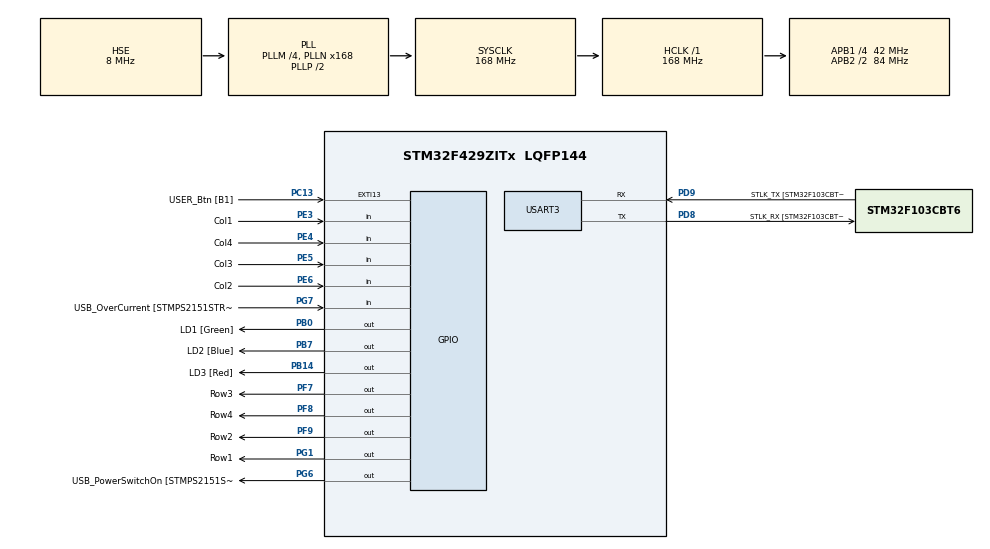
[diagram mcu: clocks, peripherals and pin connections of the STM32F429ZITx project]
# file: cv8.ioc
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Mcu.Family=STM32F4
Mcu.Name=STM32F429ZITx
Mcu.Package=LQFP144
NVIC.PriorityGroup=NVIC_PRIORITYGROUP_4
NVIC.TIM3_IRQn=true\:0\:0\:false\:false\:true\:true\:true
PA1.GPIO_Label=RMII_REF_CLK [LAN8742A-CZ-TR_REFCLK0]
PA1.Signal=ETH_REF_CLK
PA10.GPIO_Label=USB_ID
PA10.Signal=USB_OTG_FS_ID
PA11.GPIO_Label=USB_DM
PA11.Signal=USB_OTG_FS_DM
PA12.GPIO_Label=USB_DP
PA12.Signal=USB_OTG_FS_DP
PA13.GPIO_Label=TMS
PA13.Mode=Serial_Wire
PA13.Signal=SYS_JTMS-SWDIO
PA14.GPIO_Label=TCK
PA14.Mode=Serial_Wire
PA14.Signal=SYS_JTCK-SWCLK
PA2.GPIO_Label=RMII_MDIO [LAN8742A-CZ-TR_MDIO]
PA2.Signal=ETH_MDIO
PA7.GPIO_Label=RMII_CRS_DV [LAN8742A-CZ-TR_CRS_DV]
PA7.Signal=ETH_CRS_DV
PA8.GPIO_Label=USB_SOF [TP1]
PA8.Signal=USB_OTG_FS_SOF
PA9.GPIO_Label=USB_VBUS
PA9.Signal=USB_OTG_FS_VBUS
PB0.GPIO_Label=LD1 [Green]
PB0.Signal=GPIO_Output
PB13.GPIO_Label=RMII_TXD1 [LAN8742A-CZ-TR_TXD1]
PB13.Signal=ETH_TXD1
PB14.GPIO_Label=LD3 [Red]
PB14.Signal=GPIO_Output
PB7.GPIO_Label=LD2 [Blue]
PB7.Signal=GPIO_Output
PC1.GPIO_Label=RMII_MDC [LAN8742A-CZ-TR_MDC]
PC1.Signal=ETH_MDC
PC13.GPIO_Label=USER_Btn [B1]
PC13.Signal=GPXTI13
PC14/OSC32_IN.Mode=LSE-External-Oscillator
PC14/OSC32_IN.Signal=RCC_OSC32_IN
PC15/OSC32_OUT.Mode=LSE-External-Oscillator
PC15/OSC32_OUT.Signal=RCC_OSC32_OUT
PC4.GPIO_Label=RMII_RXD0 [LAN8742A-CZ-TR_RXD0]
PC4.Signal=ETH_RXD0
PC5.GPIO_Label=RMII_RXD1 [LAN8742A-CZ-TR_RXD1]
PC5.Signal=ETH_RXD1
PD8.GPIO_Label=STLK_RX [STM32F103CBT6_PA3]
PD8.Mode=Asynchronous
PD8.Signal=USART3_TX
PD9.GPIO_Label=STLK_TX [STM32F103CBT6_PA2]
PD9.Mode=Asynchronous
PD9.Signal=USART3_RX
PE3.GPIO_Label=Col1
PE3.GPIO_PuPd=GPIO_PULLUP
PE3.Signal=GPIO_Input
PE4.GPIO_Label=Col4
PE4.GPIO_PuPd=GPIO_PULLUP
PE4.Signal=GPIO_Input
PE5.GPIO_Label=Col3
PE5.GPIO_PuPd=GPIO_PULLUP
PE5.Signal=GPIO_Input
PE6.GPIO_Label=Col2
PE6.GPIO_PuPd=GPIO_PULLUP
PE6.Signal=GPIO_Input
PF7.GPIO_Label=Row3
PF7.GPIO_ModeDefaultOutputPP=GPIO_MODE_OUTPUT_OD
PF7.Signal=GPIO_Output
PF8.GPIO_Label=Row4
PF8.GPIO_ModeDefaultOutputPP=GPIO_MODE_OUTPUT_OD
PF8.Signal=GPIO_Output
PF9.GPIO_Label=Row2
PF9.GPIO_ModeDefaultOutputPP=GPIO_MODE_OUTPUT_OD
PF9.Signal=GPIO_Output
PG1.GPIO_Label=Row1
PG1.GPIO_ModeDefaultOutputPP=GPIO_MODE_OUTPUT_OD
PG1.Signal=GPIO_Output
PG11.GPIO_Label=RMII_TX_EN [LAN8742A-CZ-TR_TXEN]
PG11.Signal=ETH_TX_EN
PG13.GPIO_Label=RMII_TXD0 [LAN8742A-CZ-TR_TXD0]
PG13.Signal=ETH_TXD0
PG6.GPIO_Label=USB_PowerSwitchOn [STMPS2151STR_EN]
PG6.Signal=GPIO_Output
PG7.GPIO_Label=USB_OverCurrent [STMPS2151STR_FAULT]
PG7.Signal=GPIO_Input
PH0/OSC_IN.GPIO_Label=MCO [STM32F103CBT6_PA8]
PH0/OSC_IN.Mode=HSE-External-Clock-Source
PH0/OSC_IN.Signal=RCC_OSC_IN
PH1/OSC_OUT.Mode=HSE-External-Clock-Source
PH1/OSC_OUT.Signal=RCC_OSC_OUT
ProjectManager.HeapSize=0x200
ProjectManager.StackSize=0x400
ProjectManager.TargetToolchain=STM32CubeIDE
RCC.48MHZClocksFreq_Value=48000000
RCC.AHBFreq_Value=168000000
RCC.APB1CLKDivider=RCC_HCLK_DIV4
RCC.APB1Freq_Value=42000000
RCC.APB1TimFreq_Value=84000000
RCC.APB2CLKDivider=RCC_HCLK_DIV2
RCC.APB2Freq_Value=84000000
RCC.APB2TimCLKDivider=2
RCC.APB2TimFreq_Value=168000000
RCC.CortexFreq_Value=168000000
RCC.HCLKFreq_Value=168000000
RCC.HSE_VALUE=8000000
RCC.HSI_VALUE=16000000
RCC.PLLM=4
RCC.PLLMUL=RCC_PLL_MUL9
RCC.PLLN=168
RCC.PLLQ=7
RCC.PLLSourceVirtual=RCC_PLLSOURCE_HSE
RCC.PRESCALERUSB=RCC_USBCLKSOURCE_PLL_DIV1_5
RCC.SYSCLKFreq_VALUE=168000000
RCC.SYSCLKSource=RCC_SYSCLKSOURCE_PLLCLK
RCC.SYSCLKSourceVirtual=RCC_SYSCLKSOURCE_PLLCLK
RCC.USBFreq_Value=48000000
RCC.VCOOutputFreq_Value=336000000
TIM3.AutoReloadPreload=TIM_AUTORELOAD_PRELOAD_ENABLE
TIM3.Period=99
TIM3.Prescaler=8399
USART3.VirtualMode=VM_ASYNC
VP_TIM3_VS_ClockSourceINT.Mode=Internal
board=NUCLEO-F429ZI

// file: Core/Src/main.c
/* USER CODE BEGIN Header */
/**
 ******************************************************************************
 * @file           : main.c
 * @brief          : Main program body
 ******************************************************************************
 * @attention
 *
 * <h2><center>&copy; Copyright (c) 2021 STMicroelectronics.
 * All rights reserved.</center></h2>
 *
 * This software component is licensed by ST under BSD 3-Clause license,
 * the "License"; You may not use this file except in compliance with the
 * License. You may obtain a copy of the License at:
 *                        opensource.org/licenses/BSD-3-Clause
 *
 ******************************************************************************
 */
/* USER CODE END Header */
#include "main.h"

/* USER CODE BEGIN Includes */
#include <stdio.h>

/* USER CODE END Includes */

TIM_HandleTypeDef htim3;

UART_HandleTypeDef huart3;

/* USER CODE BEGIN PV */
 static volatile int8_t key;
/* USER CODE END PV */

void SystemClock_Config(void);
static void MX_GPIO_Init(void);
static void MX_USART3_UART_Init(void);
static void MX_TIM3_Init(void);

/* USER CODE BEGIN 0 */

int __io_putchar(int ch)
{
	ITM_SendChar(ch);
	return 0;
}
/* USER CODE END 0 */

int main(void)
{

	/* MCU Configuration--------------------------------------------------------*/

	/* Reset of all peripherals, Initializes the Flash interface and the Systick. */
	HAL_Init();

	/* Configure the system clock */
	SystemClock_Config();

	/* Initialize all configured peripherals */
	MX_GPIO_Init();
	MX_USART3_UART_Init();
	MX_TIM3_Init();
	/* USER CODE BEGIN 2 */
	HAL_TIM_Base_Start_IT(&htim3);
	/* USER CODE END 2 */

	/* Infinite loop */
	/* USER CODE BEGIN WHILE */

	static const int zamek[5] = {7,9,3,2,12};
	uint8_t index = 0;
	uint32_t last;

	while (1)
	{
		/* USER CODE END WHILE */

		/* USER CODE BEGIN 3 */
		/*  HAL_GPIO_TogglePin(LD1_GPIO_Port, LD1_Pin);
	  HAL_Delay(250);
	  printf("Toggle \n");
		 */

		if (key != -1)
		{

			if(HAL_GetTick()-last > 5000)
			{
				index = 0;
				printf("Timeout %d \n ", key);
			}
			last = HAL_GetTick();
			printf ("%d \n",key);
			HAL_Delay(500);

			if(key == zamek[index])
			{
				index++;
			}
			else
			{
				index = 0;
			}

			if(index == (sizeof(zamek)/sizeof(zamek[0])))
			{
				printf("Unlocked \n");
				HAL_GPIO_WritePin (LD1_GPIO_Port, LD1_Pin,GPIO_PIN_SET);
				HAL_Delay(1000);
				HAL_GPIO_WritePin (LD1_GPIO_Port, LD1_Pin,GPIO_PIN_RESET);
			}
			key = -1;
		}
	}
	/* USER CODE END 3 */
}

void SystemClock_Config(void)
{
	RCC_OscInitTypeDef RCC_OscInitStruct = {0};
	RCC_ClkInitTypeDef RCC_ClkInitStruct = {0};

	/** Configure the main internal regulator output voltage
	 */
	__HAL_RCC_PWR_CLK_ENABLE();
	__HAL_PWR_VOLTAGESCALING_CONFIG(PWR_REGULATOR_VOLTAGE_SCALE1);
	/** Initializes the RCC Oscillators according to the specified parameters
	 * in the RCC_OscInitTypeDef structure.
	 */
	RCC_OscInitStruct.OscillatorType = RCC_OSCILLATORTYPE_HSE;
	RCC_OscInitStruct.HSEState = RCC_HSE_BYPASS;
	RCC_OscInitStruct.PLL.PLLState = RCC_PLL_ON;
	RCC_OscInitStruct.PLL.PLLSource = RCC_PLLSOURCE_HSE;
	RCC_OscInitStruct.PLL.PLLM = 4;
	RCC_OscInitStruct.PLL.PLLN = 168;
	RCC_OscInitStruct.PLL.PLLP = RCC_PLLP_DIV2;
	RCC_OscInitStruct.PLL.PLLQ = 7;
	if (HAL_RCC_OscConfig(&RCC_OscInitStruct) != HAL_OK)
	{
		Error_Handler();
	}
	/** Initializes the CPU, AHB and APB buses clocks
	 */
	RCC_ClkInitStruct.ClockType = RCC_CLOCKTYPE_HCLK|RCC_CLOCKTYPE_SYSCLK
			|RCC_CLOCKTYPE_PCLK1|RCC_CLOCKTYPE_PCLK2;
	RCC_ClkInitStruct.SYSCLKSource = RCC_SYSCLKSOURCE_PLLCLK;
	RCC_ClkInitStruct.AHBCLKDivider = RCC_SYSCLK_DIV1;
	RCC_ClkInitStruct.APB1CLKDivider = RCC_HCLK_DIV4;
	RCC_ClkInitStruct.APB2CLKDivider = RCC_HCLK_DIV2;

	if (HAL_RCC_ClockConfig(&RCC_ClkInitStruct, FLASH_LATENCY_5) != HAL_OK)
	{
		Error_Handler();
	}
}

static void MX_TIM3_Init(void)
{

	TIM_ClockConfigTypeDef sClockSourceConfig = {0};
	TIM_MasterConfigTypeDef sMasterConfig = {0};

	htim3.Instance = TIM3;
	htim3.Init.Prescaler = 8399;
	htim3.Init.CounterMode = TIM_COUNTERMODE_UP;
	htim3.Init.Period = 99;
	htim3.Init.ClockDivision = TIM_CLOCKDIVISION_DIV1;
	htim3.Init.AutoReloadPreload = TIM_AUTORELOAD_PRELOAD_ENABLE;
	if (HAL_TIM_Base_Init(&htim3) != HAL_OK)
	{
		Error_Handler();
	}
	sClockSourceConfig.ClockSource = TIM_CLOCKSOURCE_INTERNAL;
	if (HAL_TIM_ConfigClockSource(&htim3, &sClockSourceConfig) != HAL_OK)
	{
		Error_Handler();
	}
	sMasterConfig.MasterOutputTrigger = TIM_TRGO_RESET;
	sMasterConfig.MasterSlaveMode = TIM_MASTERSLAVEMODE_DISABLE;
	if (HAL_TIMEx_MasterConfigSynchronization(&htim3, &sMasterConfig) != HAL_OK)
	{
		Error_Handler();
	}

}

static void MX_USART3_UART_Init(void)
{

	huart3.Instance = USART3;
	huart3.Init.BaudRate = 115200;
	huart3.Init.WordLength = UART_WORDLENGTH_8B;
	huart3.Init.StopBits = UART_STOPBITS_1;
	huart3.Init.Parity = UART_PARITY_NONE;
	huart3.Init.Mode = UART_MODE_TX_RX;
	huart3.Init.HwFlowCtl = UART_HWCONTROL_NONE;
	huart3.Init.OverSampling = UART_OVERSAMPLING_16;
	if (HAL_UART_Init(&huart3) != HAL_OK)
	{
		Error_Handler();
	}

}

static void MX_GPIO_Init(void)
{
	GPIO_InitTypeDef GPIO_InitStruct = {0};

	/* GPIO Ports Clock Enable */
	__HAL_RCC_GPIOE_CLK_ENABLE();
	__HAL_RCC_GPIOC_CLK_ENABLE();
	__HAL_RCC_GPIOF_CLK_ENABLE();
	__HAL_RCC_GPIOH_CLK_ENABLE();
	__HAL_RCC_GPIOA_CLK_ENABLE();
	__HAL_RCC_GPIOB_CLK_ENABLE();
	__HAL_RCC_GPIOG_CLK_ENABLE();
	__HAL_RCC_GPIOD_CLK_ENABLE();

	/*Configure GPIO pin Output Level */
	HAL_GPIO_WritePin(GPIOF, Row3_Pin|Row4_Pin|Row2_Pin, GPIO_PIN_RESET);

	/*Configure GPIO pin Output Level */
	HAL_GPIO_WritePin(GPIOB, LD1_Pin|LD3_Pin|LD2_Pin, GPIO_PIN_RESET);

	/*Configure GPIO pin Output Level */
	HAL_GPIO_WritePin(GPIOG, Row1_Pin|USB_PowerSwitchOn_Pin, GPIO_PIN_RESET);

	/*Configure GPIO pins : Col1_Pin Col4_Pin Col3_Pin Col2_Pin */
	GPIO_InitStruct.Pin = Col1_Pin|Col4_Pin|Col3_Pin|Col2_Pin;
	GPIO_InitStruct.Mode = GPIO_MODE_INPUT;
	GPIO_InitStruct.Pull = GPIO_PULLUP;
	HAL_GPIO_Init(GPIOE, &GPIO_InitStruct);

	/*Configure GPIO pin : USER_Btn_Pin */
	GPIO_InitStruct.Pin = USER_Btn_Pin;
	GPIO_InitStruct.Mode = GPIO_MODE_IT_RISING;
	GPIO_InitStruct.Pull = GPIO_NOPULL;
	HAL_GPIO_Init(USER_Btn_GPIO_Port, &GPIO_InitStruct);

	/*Configure GPIO pins : Row3_Pin Row4_Pin Row2_Pin */
	GPIO_InitStruct.Pin = Row3_Pin|Row4_Pin|Row2_Pin;
	GPIO_InitStruct.Mode = GPIO_MODE_OUTPUT_OD;
	GPIO_InitStruct.Pull = GPIO_NOPULL;
	GPIO_InitStruct.Speed = GPIO_SPEED_FREQ_LOW;
	HAL_GPIO_Init(GPIOF, &GPIO_InitStruct);

	/*Configure GPIO pins : RMII_MDC_Pin RMII_RXD0_Pin RMII_RXD1_Pin */
	GPIO_InitStruct.Pin = RMII_MDC_Pin|RMII_RXD0_Pin|RMII_RXD1_Pin;
	GPIO_InitStruct.Mode = GPIO_MODE_AF_PP;
	GPIO_InitStruct.Pull = GPIO_NOPULL;
	GPIO_InitStruct.Speed = GPIO_SPEED_FREQ_VERY_HIGH;
	GPIO_InitStruct.Alternate = GPIO_AF11_ETH;
	HAL_GPIO_Init(GPIOC, &GPIO_InitStruct);

	/*Configure GPIO pins : RMII_REF_CLK_Pin RMII_MDIO_Pin RMII_CRS_DV_Pin */
	GPIO_InitStruct.Pin = RMII_REF_CLK_Pin|RMII_MDIO_Pin|RMII_CRS_DV_Pin;
	GPIO_InitStruct.Mode = GPIO_MODE_AF_PP;
	GPIO_InitStruct.Pull = GPIO_NOPULL;
	GPIO_InitStruct.Speed = GPIO_SPEED_FREQ_VERY_HIGH;
	GPIO_InitStruct.Alternate = GPIO_AF11_ETH;
	HAL_GPIO_Init(GPIOA, &GPIO_InitStruct);

	/*Configure GPIO pins : LD1_Pin LD3_Pin LD2_Pin */
	GPIO_InitStruct.Pin = LD1_Pin|LD3_Pin|LD2_Pin;
	GPIO_InitStruct.Mode = GPIO_MODE_OUTPUT_PP;
	GPIO_InitStruct.Pull = GPIO_NOPULL;
	GPIO_InitStruct.Speed = GPIO_SPEED_FREQ_LOW;
	HAL_GPIO_Init(GPIOB, &GPIO_InitStruct);

	/*Configure GPIO pin : Row1_Pin */
	GPIO_InitStruct.Pin = Row1_Pin;
	GPIO_InitStruct.Mode = GPIO_MODE_OUTPUT_OD;
	GPIO_InitStruct.Pull = GPIO_NOPULL;
	GPIO_InitStruct.Speed = GPIO_SPEED_FREQ_LOW;
	HAL_GPIO_Init(Row1_GPIO_Port, &GPIO_InitStruct);

	/*Configure GPIO pin : RMII_TXD1_Pin */
	GPIO_InitStruct.Pin = RMII_TXD1_Pin;
	GPIO_InitStruct.Mode = GPIO_MODE_AF_PP;
	GPIO_InitStruct.Pull = GPIO_NOPULL;
	GPIO_InitStruct.Speed = GPIO_SPEED_FREQ_VERY_HIGH;
	GPIO_InitStruct.Alternate = GPIO_AF11_ETH;
	HAL_GPIO_Init(RMII_TXD1_GPIO_Port, &GPIO_InitStruct);

	/*Configure GPIO pin : USB_PowerSwitchOn_Pin */
	GPIO_InitStruct.Pin = USB_PowerSwitchOn_Pin;
	GPIO_InitStruct.Mode = GPIO_MODE_OUTPUT_PP;
	GPIO_InitStruct.Pull = GPIO_NOPULL;
	GPIO_InitStruct.Speed = GPIO_SPEED_FREQ_LOW;
	HAL_GPIO_Init(USB_PowerSwitchOn_GPIO_Port, &GPIO_InitStruct);

	/*Configure GPIO pin : USB_OverCurrent_Pin */
	GPIO_InitStruct.Pin = USB_OverCurrent_Pin;
	GPIO_InitStruct.Mode = GPIO_MODE_INPUT;
	GPIO_InitStruct.Pull = GPIO_NOPULL;
	HAL_GPIO_Init(USB_OverCurrent_GPIO_Port, &GPIO_InitStruct);

	/*Configure GPIO pins : USB_SOF_Pin USB_ID_Pin USB_DM_Pin USB_DP_Pin */
	GPIO_InitStruct.Pin = USB_SOF_Pin|USB_ID_Pin|USB_DM_Pin|USB_DP_Pin;
	GPIO_InitStruct.Mode = GPIO_MODE_AF_PP;
	GPIO_InitStruct.Pull = GPIO_NOPULL;
	GPIO_InitStruct.Speed = GPIO_SPEED_FREQ_VERY_HIGH;
	GPIO_InitStruct.Alternate = GPIO_AF10_OTG_FS;
	HAL_GPIO_Init(GPIOA, &GPIO_InitStruct);

	/*Configure GPIO pin : USB_VBUS_Pin */
	GPIO_InitStruct.Pin = USB_VBUS_Pin;
	GPIO_InitStruct.Mode = GPIO_MODE_INPUT;
	GPIO_InitStruct.Pull = GPIO_NOPULL;
	HAL_GPIO_Init(USB_VBUS_GPIO_Port, &GPIO_InitStruct);

	/*Configure GPIO pins : RMII_TX_EN_Pin RMII_TXD0_Pin */
	GPIO_InitStruct.Pin = RMII_TX_EN_Pin|RMII_TXD0_Pin;
	GPIO_InitStruct.Mode = GPIO_MODE_AF_PP;
	GPIO_InitStruct.Pull = GPIO_NOPULL;
	GPIO_InitStruct.Speed = GPIO_SPEED_FREQ_VERY_HIGH;
	GPIO_InitStruct.Alternate = GPIO_AF11_ETH;
	HAL_GPIO_Init(GPIOG, &GPIO_InitStruct);

}

/* USER CODE BEGIN 4 */
void HAL_TIM_PeriodElapsedCallback(TIM_HandleTypeDef *htim)
{
	static int row = 0;
	static const int keyboard[4][4] = {
			{ 1, 2, 3, 21 },
			{ 4, 5, 6, 22 },
			{ 7, 8, 9, 23 },
			{ 11, 0, 12, 24 },
	};
	if (key == -1) {
		if (HAL_GPIO_ReadPin(Col1_GPIO_Port, Col1_Pin) == GPIO_PIN_RESET) key = keyboard[row][0];
		if (HAL_GPIO_ReadPin(Col2_GPIO_Port, Col2_Pin) == GPIO_PIN_RESET) key = keyboard[row][1];
		// ... atd ...
		if (HAL_GPIO_ReadPin(Col3_GPIO_Port, Col3_Pin) == GPIO_PIN_RESET) key = keyboard[row][2];
		if (HAL_GPIO_ReadPin(Col4_GPIO_Port, Col4_Pin) == GPIO_PIN_RESET) key = keyboard[row][3];

	}
	HAL_GPIO_WritePin(Row1_GPIO_Port, Row1_Pin, GPIO_PIN_SET);
	HAL_GPIO_WritePin(Row2_GPIO_Port, Row2_Pin, GPIO_PIN_SET);
	HAL_GPIO_WritePin(Row3_GPIO_Port, Row3_Pin, GPIO_PIN_SET);
	HAL_GPIO_WritePin(Row4_GPIO_Port, Row4_Pin, GPIO_PIN_SET);
	switch (row) {
	case 0: row = 1; HAL_GPIO_WritePin(Row2_GPIO_Port, Row2_Pin, GPIO_PIN_RESET); break;
	case 1: row = 2; HAL_GPIO_WritePin(Row3_GPIO_Port, Row3_Pin, GPIO_PIN_RESET); break;
	// ... atd ...
	case 2: row = 3; HAL_GPIO_WritePin(Row4_GPIO_Port, Row4_Pin, GPIO_PIN_RESET); break;
	case 3: row = 0; HAL_GPIO_WritePin(Row1_GPIO_Port, Row1_Pin, GPIO_PIN_RESET); break;
	}
}
/* USER CODE END 4 */

void Error_Handler(void)
{
	__disable_irq();
	while (1)
	{
	}
}

/************************ (C) COPYRIGHT STMicroelectronics *****END OF FILE****/
